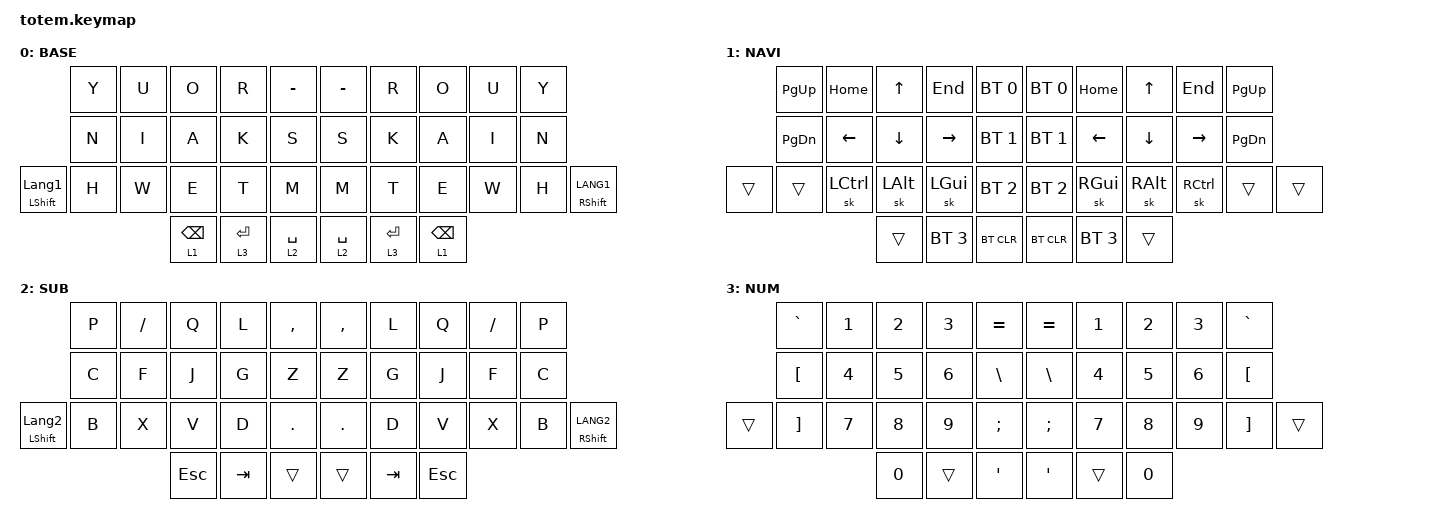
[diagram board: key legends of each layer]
//
//                                                        ▀▀▀▀▀     ▀▀▀▀▀          ▀▀█▀▀
//                                                        ▄▀▀▀▄  ▄  ▄▀▀▀▄  ▄  ▄▀▀▀▄  █  ▄▀▀▀▄
//                                                        █   █  █  █   █  █  █   █  █  █   █
//                                                         ▀▀▀   █   ▀▀▀   █   ▀▀▀   ▀   ▀▀▀
//                                                               █      ▄▄▄█▄▄▄    █   █  
//                                                               ▀      █  █  █     █▄█
//                                                             ▀▀▀▀▀    █  █  █      ▀
//                                                                      ▀  ▀  ▀
//
// ▄▄▄▄▄▄▄▄▄▄▄▄▄▄▄▄▄▄▄▄▄▄▄▄▄▄▄▄▄▄▄▄▄▄▄▄▄▄▄▄▄▄▄▄▄▄▄▄▄▄▄▄▄▄▄▄▄▄▄▄▄▄▄▄▄▄▄▄▄▄▄▄▄▄▄▄▄▄▄▄▄▄▄▄▄▄▄▄▄▄▄▄▄▄▄▄▄▄▄▄▄▄▄▄▄▄▄▄▄▄▄▄▄▄▄▄▄▄▄▄▄▄▄▄▄▄▄▄▄▄▄▄▄▄▄▄▄▄▄▄▄▄▄▄▄▄▄▄▄

#include <behaviors.dtsi>
#include <dt-bindings/zmk/bt.h>
#include <dt-bindings/zmk/keys.h>

#define BASE 0
#define NAV  1
#define SYM  2
#define ADJ  3
#define TVP1 4
#define TVP2 5

&mt {
    quick-tap-ms = <100>;
    global-quick-tap;
    flavor = "tap-preferred";
    tapping-term-ms = <170>;
};

&sk { release-after-ms = <2000>; };

/ {
    combos { compatible = "zmk,combos"; };

    keymap {
        compatible = "zmk,keymap";

        // ▄▄▄▄▄▄▄▄▄▄▄▄▄▄▄▄▄▄▄▄▄▄▄▄▄▄▄▄▄▄▄▄▄▄▄▄▄▄▄▄▄▄▄▄▄▄▄▄▄▄▄▄▄▄▄▄▄▄▄▄▄▄▄▄▄▄▄▄▄▄▄▄▄▄▄▄▄▄▄▄▄▄▄▄▄▄▄▄▄▄▄▄▄▄▄▄▄▄▄▄▄▄▄▄▄▄▄▄▄▄▄▄▄▄▄▄▄▄▄▄▄▄▄▄▄▄▄▄▄▄▄▄▄▄▄▄▄▄▄▄▄▄▄▄▄▄▄▄▄

        base_layer {
            // ┏━━━━━━━━━━━━━━━━━━━━━━━━━━━━━━━━━━━━━━━┓

            label = "BASE";

            // ┗━━━━━━━━━━━━━━━━━━━━━━━━━━━━━━━━━━━━━━━┛
            //             ┏━━━━━━━━━━━┳━━━━━━━━━━━┳━━━━━━━━━━━┳━━━━━━━━━━━┳━━━━━━━━━━━┓   ┏━━━━━━━━━━━┳━━━━━━━━━━━┳━━━━━━━━━━━┳━━━━━━━━━━━┳━━━━━━━━━━━┓
            //             ┃     Y     ┃     U     ┃     O     ┃     R     ┃     -     ┃   ┃     -     ┃     R     ┃     O     ┃     U     ┃     Y     ┃
            //             ┣━━━━━━━━━━━╋━━━━━━━━━━━╋━━━━━━━━━━━╋━━━━━━━━━━━╋━━━━━━━━━━━┫   ┣━━━━━━━━━━━╋━━━━━━━━━━━╋━━━━━━━━━━━╋━━━━━━━━━━━╋━━━━━━━━━━━┫
            //             ┃     N     ┃     I     ┃     A     ┃     K     ┃     S     ┃   ┃     S     ┃     K     ┃     A     ┃     I     ┃     N     ┃
            // ┏━━━━━━━━━━━╋━━━━━━━━━━━╋━━━━━━━━━━━╋━━━━━━━━━━━╋━━━━━━━━━━━╋━━━━━━━━━━━┫   ┣━━━━━━━━━━━╋━━━━━━━━━━━╋━━━━━━━━━━━╋━━━━━━━━━━━╋━━━━━━━━━━━╋━━━━━━━━━━━┓
            // ┃   SHIFT   ┃     H     ┃     W     ┃     E     ┃     T     ┃     M     ┃   ┃     M     ┃     T     ┃     E     ┃     W     ┃     H     ┃   SHIFT   ┃
            // ┗━━━━━━━━━━━┻━━━━━━━━━━━┻━━━━━━━━━━━╋━━━━━━━━━━━╋━━━━━━━━━━━╋━━━━━━━━━━━┫   ┣━━━━━━━━━━━╋━━━━━━━━━━━╋━━━━━━━━━━━╋━━━━━━━━━━━┻━━━━━━━━━━━┻━━━━━━━━━━━┛
            //                                     ┃    BSPC   ┃   ENTER   ┃    SPC    ┃   ┃   SPACE   ┃   ENTER   ┃   BSPC    ┃
            //                                     ┗━━━━━━━━━━━┻━━━━━━━━━━━┻━━━━━━━━━━━┛   ┗━━━━━━━━━━━┻━━━━━━━━━━━┻━━━━━━━━━━━┛

            bindings = <
                           &kp Y  &kp U  &kp O       &kp R      &kp MINUS      &kp MINUS    &kp R        &kp O       &kp U  &kp Y
                           &kp N  &kp I  &kp A       &kp K      &kp S          &kp S        &kp K        &kp A       &kp I  &kp N
&mt LEFT_SHIFT LANGUAGE_1  &kp H  &kp W  &kp E       &kp T      &kp M          &kp M        &kp T        &kp E       &kp W  &kp H  &mt RIGHT_SHIFT LANG1
                                         &lt 1 BSPC  &lt 3 RET  &lt 2 SPACE    &lt 2 SPACE  &lt 3 ENTER  &lt 1 BSPC
            >;
        };

        // ▄▄▄▄▄▄▄▄▄▄▄▄▄▄▄▄▄▄▄▄▄▄▄▄▄▄▄▄▄▄▄▄▄▄▄▄▄▄▄▄▄▄▄▄▄▄▄▄▄▄▄▄▄▄▄▄▄▄▄▄▄▄▄▄▄▄▄▄▄▄▄▄▄▄▄▄▄▄▄▄▄▄▄▄▄▄▄▄▄▄▄▄▄▄▄▄▄▄▄▄▄▄▄▄▄▄▄▄▄▄▄▄▄▄▄▄▄▄▄▄▄▄▄▄▄▄▄▄▄▄▄▄▄▄▄▄▄▄▄▄▄▄▄▄▄▄▄▄▄

        nav_layer {
            // ┏━━━━━━━━━━━━━━━━━━━━━━━━━━━━━━━━━━━━━━━┓

            label = "NAVI";

            // ┗━━━━━━━━━━━━━━━━━━━━━━━━━━━━━━━━━━━━━━━┛
            //             ┏━━━━━━━━━━━┳━━━━━━━━━━━┳━━━━━━━━━━━┳━━━━━━━━━━━┳━━━━━━━━━━━┓   ┏━━━━━━━━━━━┳━━━━━━━━━━━┳━━━━━━━━━━━┳━━━━━━━━━━━┳━━━━━━━━━━━┓
            //             ┃   PG_UP   ┃   HOME    ┃     UP    ┃    END    ┃   BT_0    ┃   ┃   BT_0    ┃    END    ┃    UP     ┃   HOME    ┃   PG_UP   ┃
            //             ┣━━━━━━━━━━━╋━━━━━━━━━━━╋━━━━━━━━━━━╋━━━━━━━━━━━╋━━━━━━━━━━━┫   ┣━━━━━━━━━━━╋━━━━━━━━━━━╋━━━━━━━━━━━╋━━━━━━━━━━━╋━━━━━━━━━━━┫
            //             ┃  PG_DOWN  ┃   LEFT    ┃    DOWN   ┃   RIGHT   ┃   BT_1    ┃   ┃   BT_1    ┃   RIGHT   ┃   DOWN    ┃   LEFT    ┃  PG_DOWN  ┃
            // ┏━━━━━━━━━━━╋━━━━━━━━━━━╋━━━━━━━━━━━╋━━━━━━━━━━━╋━━━━━━━━━━━╋━━━━━━━━━━━┫   ┣━━━━━━━━━━━╋━━━━━━━━━━━╋━━━━━━━━━━━╋━━━━━━━━━━━╋━━━━━━━━━━━╋━━━━━━━━━━━┓
            // ┃           ┃           ┃  sk_CTRL  ┃  sk_ALT   ┃  SK_GUI   ┃   BT_2    ┃   ┃   BT_2    ┃  sk_GUI   ┃  sk_ALT   ┃  sk_CTRL  ┃           ┃           ┃
            // ┗━━━━━━━━━━━┻━━━━━━━━━━━┻━━━━━━━━━━━╋━━━━━━━━━━━╋━━━━━━━━━━━╋━━━━━━━━━━━┫   ┣━━━━━━━━━━━╋━━━━━━━━━━━╋━━━━━━━━━━━╋━━━━━━━━━━━┻━━━━━━━━━━━┻━━━━━━━━━━━┛
            //                                     ┃           ┃   BT_3    ┃  BT_CLR   ┃   ┃  BT_CLR   ┃   BT_3    ┃           ┃
            //                                     ┗━━━━━━━━━━━┻━━━━━━━━━━━┻━━━━━━━━━━━┛   ┗━━━━━━━━━━━┻━━━━━━━━━━━┻━━━━━━━━━━━┛

            bindings = <
        &kp PG_UP  &kp HOME   &kp UP        &kp END       &bt BT_SEL 0    &bt BT_SEL 0  &kp HOME        &kp UP_ARROW    &kp END          &kp PG_UP
        &kp PG_DN  &kp LEFT   &kp DOWN      &kp RIGHT     &bt BT_SEL 1    &bt BT_SEL 1  &kp LEFT_ARROW  &kp DOWN_ARROW  &kp RIGHT_ARROW  &kp PG_DN
&trans  &trans     &sk LCTRL  &sk LEFT_ALT  &sk LEFT_GUI  &bt BT_SEL 2    &bt BT_SEL 2  &sk RIGHT_GUI   &sk RIGHT_ALT   &sk RCTRL        &trans     &trans
                              &trans        &bt BT_SEL 3  &bt BT_CLR      &bt BT_CLR    &bt BT_SEL 3    &trans
            >;
        };

        // ▄▄▄▄▄▄▄▄▄▄▄▄▄▄▄▄▄▄▄▄▄▄▄▄▄▄▄▄▄▄▄▄▄▄▄▄▄▄▄▄▄▄▄▄▄▄▄▄▄▄▄▄▄▄▄▄▄▄▄▄▄▄▄▄▄▄▄▄▄▄▄▄▄▄▄▄▄▄▄▄▄▄▄▄▄▄▄▄▄▄▄▄▄▄▄▄▄▄▄▄▄▄▄▄▄▄▄▄▄▄▄▄▄▄▄▄▄▄▄▄▄▄▄▄▄▄▄▄▄▄▄▄▄▄▄▄▄▄▄▄▄▄▄▄▄▄▄▄▄

        sub_layer {
            // ┏━━━━━━━━━━━━━━━━━━━━━━━━━━━━━━━━━━━━━━━┓

            label = "SUB";

            // ┗━━━━━━━━━━━━━━━━━━━━━━━━━━━━━━━━━━━━━━━┛
            //             ┏━━━━━━━━━━━┳━━━━━━━━━━━┳━━━━━━━━━━━┳━━━━━━━━━━━┳━━━━━━━━━━━┓   ┏━━━━━━━━━━━┳━━━━━━━━━━━┳━━━━━━━━━━━┳━━━━━━━━━━━┳━━━━━━━━━━━┓
            //             ┃     P     ┃     /     ┃     Q     ┃     L     ┃     ,     ┃   ┃     ,     ┃     L     ┃     Q     ┃     /     ┃     P     ┃
            //             ┣━━━━━━━━━━━╋━━━━━━━━━━━╋━━━━━━━━━━━╋━━━━━━━━━━━╋━━━━━━━━━━━┫   ┣━━━━━━━━━━━╋━━━━━━━━━━━╋━━━━━━━━━━━╋━━━━━━━━━━━╋━━━━━━━━━━━┫
            //             ┃     C     ┃     F     ┃     J     ┃     G     ┃     Z     ┃   ┃     Z     ┃     G     ┃     J     ┃     F     ┃     C     ┃
            // ┏━━━━━━━━━━━╋━━━━━━━━━━━╋━━━━━━━━━━━╋━━━━━━━━━━━╋━━━━━━━━━━━╋━━━━━━━━━━━┫   ┣━━━━━━━━━━━╋━━━━━━━━━━━╋━━━━━━━━━━━╋━━━━━━━━━━━╋━━━━━━━━━━━╋━━━━━━━━━━━┓
            // ┃   SHIFT   ┃     B     ┃     X     ┃     V     ┃     D     ┃     .     ┃   ┃     .     ┃     D     ┃     V     ┃     X     ┃     B     ┃   SHIFT   ┃
            // ┗━━━━━━━━━━━┻━━━━━━━━━━━┻━━━━━━━━━━━╋━━━━━━━━━━━╋━━━━━━━━━━━╋━━━━━━━━━━━┫   ┣━━━━━━━━━━━╋━━━━━━━━━━━╋━━━━━━━━━━━╋━━━━━━━━━━━┻━━━━━━━━━━━┻━━━━━━━━━━━┛
            //                                     ┃    ESC    ┃    TAB    ┃           ┃   ┃           ┃    TAB    ┃    ESC    ┃
            //                                     ┗━━━━━━━━━━━┻━━━━━━━━━━━┻━━━━━━━━━━━┛   ┗━━━━━━━━━━━┻━━━━━━━━━━━┻━━━━━━━━━━━┛

            bindings = <
                           &kp P  &kp SLASH  &kp Q    &kp L    &kp COMMA     &kp COMMA   &kp L    &kp Q    &kp SLASH  &kp P
                           &kp C  &kp F      &kp J    &kp G    &kp Z         &kp Z       &kp G    &kp J    &kp F      &kp C
&mt LEFT_SHIFT LANGUAGE_2  &kp B  &kp X      &kp V    &kp D    &kp PERIOD    &kp PERIOD  &kp D    &kp V    &kp X      &kp B  &mt RIGHT_SHIFT LANG2
                                             &kp ESC  &kp TAB  &trans        &trans      &kp TAB  &kp ESC
            >;
        };

        // ▄▄▄▄▄▄▄▄▄▄▄▄▄▄▄▄▄▄▄▄▄▄▄▄▄▄▄▄▄▄▄▄▄▄▄▄▄▄▄▄▄▄▄▄▄▄▄▄▄▄▄▄▄▄▄▄▄▄▄▄▄▄▄▄▄▄▄▄▄▄▄▄▄▄▄▄▄▄▄▄▄▄▄▄▄▄▄▄▄▄▄▄▄▄▄▄▄▄▄▄▄▄▄▄▄▄▄▄▄▄▄▄▄▄▄▄▄▄▄▄▄▄▄▄▄▄▄▄▄▄▄▄▄▄▄▄▄▄▄▄▄▄▄▄▄▄▄▄▄

        num_layer {
            // ┏━━━━━━━━━━━━━━━━━━━━━━━━━━━━━━━━━━━━━━━┓

            label = "NUM";

            // ┗━━━━━━━━━━━━━━━━━━━━━━━━━━━━━━━━━━━━━━━┛
            //             ┏━━━━━━━━━━━┳━━━━━━━━━━━┳━━━━━━━━━━━┳━━━━━━━━━━━┳━━━━━━━━━━━┓   ┏━━━━━━━━━━━┳━━━━━━━━━━━┳━━━━━━━━━━━┳━━━━━━━━━━━┳━━━━━━━━━━━┓
            //             ┃     `     ┃     1     ┃     2     ┃     3     ┃     =     ┃   ┃     =     ┃     1     ┃     2     ┃     3     ┃     `     ┃
            //             ┣━━━━━━━━━━━╋━━━━━━━━━━━╋━━━━━━━━━━━╋━━━━━━━━━━━╋━━━━━━━━━━━┫   ┣━━━━━━━━━━━╋━━━━━━━━━━━╋━━━━━━━━━━━╋━━━━━━━━━━━╋━━━━━━━━━━━┫
            //             ┃     [     ┃     4     ┃     5     ┃     6     ┃     \     ┃   ┃     \     ┃     4     ┃     5     ┃     6     ┃     [     ┃
            // ┏━━━━━━━━━━━╋━━━━━━━━━━━╋━━━━━━━━━━━╋━━━━━━━━━━━╋━━━━━━━━━━━╋━━━━━━━━━━━┫   ┣━━━━━━━━━━━╋━━━━━━━━━━━╋━━━━━━━━━━━╋━━━━━━━━━━━╋━━━━━━━━━━━╋━━━━━━━━━━━┓
            // ┃           ┃     ]     ┃     7     ┃     8     ┃     9     ┃     ;     ┃   ┃     ;     ┃     7     ┃     8     ┃     9     ┃     ]     ┃           ┃
            // ┗━━━━━━━━━━━┻━━━━━━━━━━━┻━━━━━━━━━━━╋━━━━━━━━━━━╋━━━━━━━━━━━╋━━━━━━━━━━━┫   ┣━━━━━━━━━━━╋━━━━━━━━━━━╋━━━━━━━━━━━╋━━━━━━━━━━━┻━━━━━━━━━━━┻━━━━━━━━━━━┛
            //                                     ┃     0     ┃           ┃     '     ┃   ┃     '     ┃           ┃     0     ┃
            //                                     ┗━━━━━━━━━━━┻━━━━━━━━━━━┻━━━━━━━━━━━┛   ┗━━━━━━━━━━━┻━━━━━━━━━━━┻━━━━━━━━━━━┛

            bindings = <
        &kp GRAVE          &kp NUMBER_1  &kp NUMBER_2  &kp NUMBER_3  &kp EQUAL        &kp EQUAL      &kp NUMBER_1  &kp NUMBER_2  &kp NUMBER_3  &kp GRAVE
        &kp LEFT_BRACKET   &kp NUMBER_4  &kp N5        &kp NUMBER_6  &kp BACKSLASH    &kp BACKSLASH  &kp NUMBER_4  &kp N5        &kp NUMBER_6  &kp LEFT_BRACKET
&trans  &kp RIGHT_BRACKET  &kp N7        &kp N8        &kp N9        &kp SEMICOLON    &kp SEMICOLON  &kp N7        &kp N8        &kp N9        &kp RIGHT_BRACKET  &trans
                                         &kp N0        &trans        &kp SQT          &kp SQT        &trans        &kp N0
            >;
        };

        // ▄▄▄▄▄▄▄▄▄▄▄▄▄▄▄▄▄▄▄▄▄▄▄▄▄▄▄▄▄▄▄▄▄▄▄▄▄▄▄▄▄▄▄▄▄▄▄▄▄▄▄▄▄▄▄▄▄▄▄▄▄▄▄▄▄▄▄▄▄▄▄▄▄▄▄▄▄▄▄▄▄▄▄▄▄▄▄▄▄▄▄▄▄▄▄▄▄▄▄▄▄▄▄▄▄▄▄▄▄▄▄▄▄▄▄▄▄▄▄▄▄▄▄▄▄▄▄▄▄▄▄▄▄▄▄▄▄▄▄▄▄▄▄▄▄▄▄▄▄
        // ▄▄▄▄▄▄▄▄▄▄▄▄▄▄▄▄▄▄▄▄▄▄▄▄▄▄▄▄▄▄▄▄▄▄▄▄▄▄▄▄▄▄▄▄▄▄▄▄▄▄▄▄▄▄▄▄▄▄▄▄▄▄▄▄▄▄▄▄▄▄▄▄▄▄▄▄▄▄▄▄▄▄▄▄▄▄▄▄▄▄▄▄▄▄▄▄▄▄▄▄▄▄▄▄▄▄▄▄▄▄▄▄▄▄▄▄▄▄▄▄▄▄▄▄▄▄▄▄▄▄▄▄▄▄▄▄▄▄▄▄▄▄▄▄▄▄▄▄▄
    };
};
